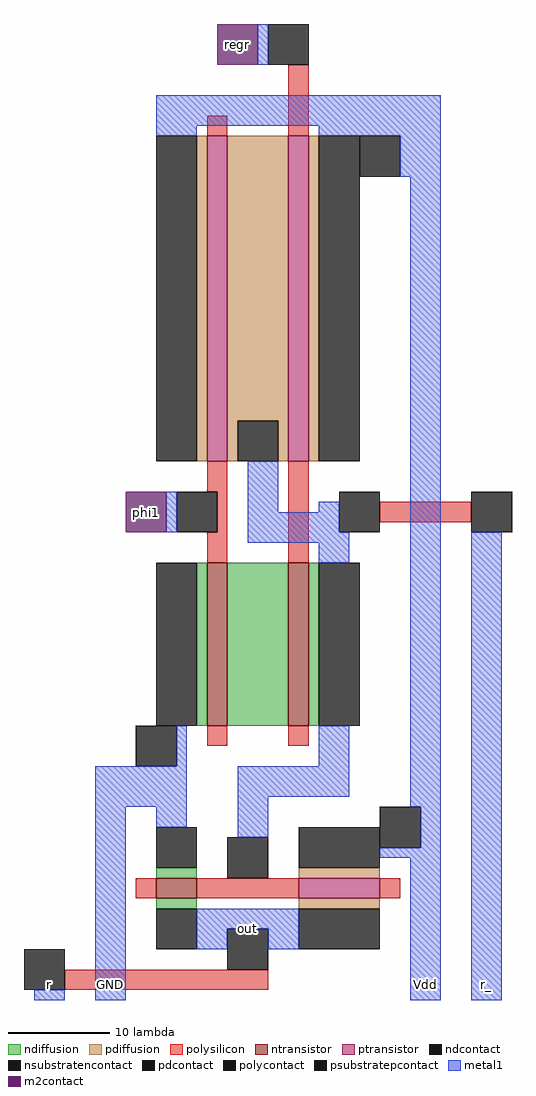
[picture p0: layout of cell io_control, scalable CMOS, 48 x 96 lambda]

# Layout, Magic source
magic
tech scmos
<< polysilicon >>
rect -35 83 -33 85
rect -27 83 -25 90
rect -35 48 -33 51
rect -34 44 -33 48
rect -35 41 -33 44
rect -27 41 -25 51
rect -18 45 -9 47
rect -35 23 -33 25
rect -27 23 -25 25
rect -42 8 -40 10
rect -36 8 -26 10
rect -18 8 -16 10
rect -49 -1 -29 1
<< ndiffusion >>
rect -36 25 -35 41
rect -33 25 -27 41
rect -25 25 -24 41
rect -40 10 -36 11
rect -40 7 -36 8
<< pdiffusion >>
rect -36 51 -35 83
rect -33 55 -27 83
rect -33 51 -32 55
rect -28 51 -27 55
rect -25 51 -24 83
rect -26 10 -18 11
rect -26 7 -18 8
<< metal1 >>
rect -30 90 -29 94
rect -40 84 -12 87
rect -40 83 -36 84
rect -24 83 -12 84
rect -16 79 -12 83
rect -39 44 -38 48
rect -31 46 -28 51
rect -24 46 -22 47
rect -31 44 -22 46
rect -31 43 -21 44
rect -24 41 -21 43
rect -38 21 -37 25
rect -24 21 -21 25
rect -46 17 -37 21
rect -52 -2 -49 -1
rect -46 -2 -43 17
rect -40 15 -37 17
rect -32 18 -21 21
rect -32 14 -29 18
rect -15 17 -12 79
rect -14 13 -12 17
rect -18 12 -12 13
rect -36 5 -26 7
rect -36 3 -33 5
rect -29 3 -26 5
rect -15 -2 -12 12
rect -9 -2 -6 44
<< ntransistor >>
rect -35 25 -33 41
rect -27 25 -25 41
rect -40 8 -36 10
<< ptransistor >>
rect -35 51 -33 83
rect -27 51 -25 83
rect -26 8 -18 10
<< polycontact >>
rect -29 90 -25 94
rect -38 44 -34 48
rect -22 44 -18 48
rect -9 44 -5 48
rect -33 10 -29 14
rect -53 -1 -49 3
rect -33 1 -29 5
<< ndcontact >>
rect -40 25 -36 41
rect -24 25 -20 41
rect -40 11 -36 15
rect -40 3 -36 7
<< pdcontact >>
rect -40 51 -36 83
rect -32 51 -28 55
rect -24 51 -20 83
rect -26 11 -18 15
rect -26 3 -18 7
<< m2contact >>
rect -34 90 -30 94
rect -43 44 -39 48
<< psubstratepcontact >>
rect -42 21 -38 25
<< nsubstratencontact >>
rect -20 79 -16 83
rect -18 13 -14 17
<< labels >>
rlabel m2contact -34 90 -30 94 1 regr
rlabel m2contact -43 44 -39 48 1 phi1
rlabel metal1 -15 -2 -12 1 1 Vdd
rlabel metal1 -31 5 -31 5 1 out
rlabel metal1 -9 -2 -6 1 1 r_
rlabel metal1 -46 -2 -43 1 1 GND
rlabel metal1 -52 -2 -49 1 3 r
<< end >>
